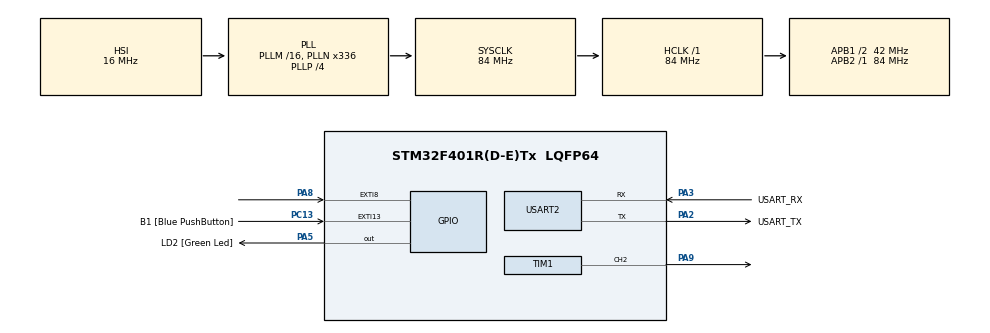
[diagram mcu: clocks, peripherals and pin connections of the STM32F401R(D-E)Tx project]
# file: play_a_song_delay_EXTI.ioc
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Mcu.Family=STM32F4
Mcu.Name=STM32F401R(D-E)Tx
Mcu.Package=LQFP64
NVIC.EXTI9_5_IRQn=true\:0\:0\:false\:false\:true\:true\:true
NVIC.PriorityGroup=NVIC_PRIORITYGROUP_0
PA13.GPIO_Label=TMS
PA13.Mode=Serial_Wire
PA13.Signal=SYS_JTMS-SWDIO
PA14.GPIO_Label=TCK
PA14.Mode=Serial_Wire
PA14.Signal=SYS_JTCK-SWCLK
PA2.GPIO_Label=USART_TX
PA2.GPIO_Mode=GPIO_MODE_AF_PP
PA2.GPIO_PuPd=GPIO_NOPULL
PA2.GPIO_Speed=GPIO_SPEED_FREQ_LOW
PA2.Mode=Asynchronous
PA2.Signal=USART2_TX
PA3.GPIO_Label=USART_RX
PA3.GPIO_Mode=GPIO_MODE_AF_PP
PA3.GPIO_PuPd=GPIO_NOPULL
PA3.GPIO_Speed=GPIO_SPEED_FREQ_LOW
PA3.Mode=Asynchronous
PA3.Signal=USART2_RX
PA5.GPIO_Label=LD2 [Green Led]
PA5.GPIO_Mode=GPIO_MODE_OUTPUT_PP
PA5.GPIO_PuPd=GPIO_NOPULL
PA5.GPIO_Speed=GPIO_SPEED_FREQ_LOW
PA5.Signal=GPIO_Output
PA8.Signal=GPXTI8
PA9.Signal=S_TIM1_CH2
PB3.GPIO_Label=SWO
PB3.Signal=SYS_JTDO-SWO
PC13-ANTI_TAMP.GPIO_Label=B1 [Blue PushButton]
PC13-ANTI_TAMP.GPIO_ModeDefaultEXTI=GPIO_MODE_IT_FALLING
PC13-ANTI_TAMP.GPIO_PuPd=GPIO_NOPULL
PC13-ANTI_TAMP.Signal=GPXTI13
PC14-OSC32_IN.Mode=LSE-External-Oscillator
PC14-OSC32_IN.Signal=RCC_OSC32_IN
PC15-OSC32_OUT.Mode=LSE-External-Oscillator
PC15-OSC32_OUT.Signal=RCC_OSC32_OUT
PH0\ -\ OSC_IN.Mode=HSE-External-Clock-Source
PH0\ -\ OSC_IN.Signal=RCC_OSC_IN
PH1\ -\ OSC_OUT.Mode=HSE-External-Clock-Source
PH1\ -\ OSC_OUT.Signal=RCC_OSC_OUT
ProjectManager.HeapSize=0x200
ProjectManager.StackSize=0x400
ProjectManager.TargetToolchain=STM32CubeIDE
RCC.48MHZClocksFreq_Value=48000000
RCC.AHBFreq_Value=84000000
RCC.APB1CLKDivider=RCC_HCLK_DIV2
RCC.APB1Freq_Value=42000000
RCC.APB1TimFreq_Value=84000000
RCC.APB2Freq_Value=84000000
RCC.APB2TimFreq_Value=84000000
RCC.CortexFreq_Value=84000000
RCC.HCLKFreq_Value=84000000
RCC.HSE_VALUE=8000000
RCC.HSI_VALUE=16000000
RCC.PLLN=336
RCC.PLLP=RCC_PLLP_DIV4
RCC.PLLQ=7
RCC.SYSCLKFreq_VALUE=84000000
RCC.SYSCLKSource=RCC_SYSCLKSOURCE_PLLCLK
RCC.VCOOutputFreq_Value=336000000
SH.S_TIM1_CH2.0=TIM1_CH2,PWM Generation2 CH2
TIM1.Channel-PWM\ Generation2\ CH2=TIM_CHANNEL_2
TIM1.Period=1005 - 1
TIM1.Prescaler=190 - 1
TIM1.Pulse-PWM\ Generation2\ CH2=503 - 1
USART2.VirtualMode=VM_ASYNC
VP_TIM1_VS_ClockSourceINT.Mode=Internal
board=NUCLEO-F401RE

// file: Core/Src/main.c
/* USER CODE BEGIN Header */
/**
  ******************************************************************************
  * @file           : main.c
  * @brief          : Main program body
  ******************************************************************************
  * @attention
  *
  * <h2><center>&copy; Copyright (c) 2021 STMicroelectronics.
  * All rights reserved.</center></h2>
  *
  * This software component is licensed by ST under BSD 3-Clause license,
  * the "License"; You may not use this file except in compliance with the
  * License. You may obtain a copy of the License at:
  *                        opensource.org/licenses/BSD-3-Clause
  *
  ******************************************************************************
  */
/* USER CODE END Header */
#include "main.h"

/* USER CODE BEGIN PTD */
typedef struct{
	int tone;
	int duration;
}Note;
/* USER CODE END PTD */

/* USER CODE BEGIN PD */

#define BLUE_BUTTON 			GPIOC, GPIO_PIN_13
#define LED_PIN					GPIOA, GPIO_PIN_5
#define MICROPHONE				GPIOA, GPIO_PIN_8

#define TEMPO	75

#define _DO4	3205
#define _DOD4	3031
#define _RE4	2856
#define _RED4	2699
#define _MI4	2544
#define _FA4	2405
#define _FAD4	2269
#define _SOL4	2141
#define _SOLD4	2023
#define _LA4	1908
#define _LAD4	1801
#define _SI4	1699

/* USER CODE END PD */

TIM_HandleTypeDef htim1;

UART_HandleTypeDef huart2;

/* USER CODE BEGIN PV */

int currentNote = 0; //Index of the current note to be played in the score
/*
 * LONDON BRIDGE IS FALLING DOWN
 */
Note score[] = {
		{_SOL4, 6},
		{_LA4, 2},
		{_SOL4, 4},
		{_FA4, 4},
		{_MI4, 4},
		{_FA4, 4},
		{_SOL4, 8},
		{_RE4, 4},
		{_MI4, 4},
		{_FA4, 8},
		{_MI4, 4},
		{_FA4, 4},
		{_SOL4, 8},
		{_SOL4, 6},
		{_LA4, 2},
		{_SOL4, 4},
		{_FA4, 4},
		{_MI4, 4},
		{_FA4, 4},
		{_SOL4, 8},
		{_RE4, 8},
		{_SOL4, 8},
		{_MI4, 4},
		{_DO4, 12}
};
/* USER CODE END PV */

void SystemClock_Config(void);
static void MX_GPIO_Init(void);
static void MX_USART2_UART_Init(void);
static void MX_TIM1_Init(void);
/* USER CODE BEGIN PFP */

void playnote(Note note);
void playscore(void);

/* USER CODE END PFP */

/* USER CODE BEGIN 0 */

/**
 * TIMER INTERRUPT CALLBACK
 * 	   When TIM2 elapses, it stops the PWM on TIM1 and plays the next note, until the last note is played
 */

/**
 * EXTERNAL INTERRUPT CALLBACK
 * 	   When the microphone detects a sound, TIM2's timer starts counting
 * 	   When the button is pressed, LD2 led lights up
 */
void HAL_GPIO_EXTI_Callback(uint16_t GPIO_Pin)
{
	GPIO_PinState snapFinger;

	switch (GPIO_Pin){
	case GPIO_PIN_8: 								//MICROPHONE
		snapFinger = HAL_GPIO_ReadPin(MICROPHONE);
		HAL_GPIO_WritePin(LED_PIN, snapFinger); 	//Lights up LD2
		playscore();

		// Clears the interrupt, so that the song does not replay if the mic detects a sound during the song
//		HAL_Delay(2); 								//In case the MCU is too fast
		__HAL_GPIO_EXTI_CLEAR_IT(GPIO_Pin);
		break;
	default:
		break;
	}
}

/**
 * Sets up TIM1 and TIM2, then starts the PWM generation
 */
void playnote(Note note){
	  TIM_OC_InitTypeDef sConfigOC = {0};

	  /**
	   * TIM1 update of Period (TIM1->ARR) and Pulse (TIM1 Duty Cycle)
	   * 	For each note, we set the corresponding equivalent frequency through the TIM1->ARR peripheral register
	   * 	After the setup, PWM generation begins
	   * */
	  htim1.Instance = TIM1;
	  htim1.Init.Prescaler = 100 - 1;
	  htim1.Init.CounterMode = TIM_COUNTERMODE_UP;
	  htim1.Init.Period = note.tone;
	  htim1.Init.ClockDivision = TIM_CLOCKDIVISION_DIV1;
	  htim1.Init.RepetitionCounter = 0;
	  htim1.Init.AutoReloadPreload = TIM_AUTORELOAD_PRELOAD_DISABLE;
	  if (HAL_TIM_Base_Init(&htim1) != HAL_OK)
	  {
	    Error_Handler();
	  }
	  if (HAL_TIM_PWM_Init(&htim1) != HAL_OK)
	  {
	    Error_Handler();
	  }

	  sConfigOC.OCMode = TIM_OCMODE_PWM1;
	  sConfigOC.Pulse = note.tone / 2;
	  sConfigOC.OCPolarity = TIM_OCPOLARITY_HIGH;
	  sConfigOC.OCNPolarity = TIM_OCNPOLARITY_HIGH;
	  sConfigOC.OCFastMode = TIM_OCFAST_DISABLE;
	  sConfigOC.OCIdleState = TIM_OCIDLESTATE_RESET;
	  sConfigOC.OCNIdleState = TIM_OCNIDLESTATE_RESET;
	  if (HAL_TIM_PWM_ConfigChannel(&htim1, &sConfigOC, TIM_CHANNEL_2) != HAL_OK)
	  {
	    Error_Handler();
	  }

	  HAL_TIM_PWM_Start(&htim1, TIM_CHANNEL_2);
	  HAL_Delay(note.duration * TEMPO);
	  HAL_TIM_PWM_Stop(&htim1, TIM_CHANNEL_2);

}

void playscore(){
	int length = sizeof(score)/sizeof(score[0]);

	for (int i = 0; i < length; ++i) {
		playnote(score[i]);
	}
}

/* USER CODE END 0 */

int main(void)
{

  /* MCU Configuration--------------------------------------------------------*/

  /* Reset of all peripherals, Initializes the Flash interface and the Systick. */
  HAL_Init();

  /* Configure the system clock */
  SystemClock_Config();

  /* Initialize all configured peripherals */
  MX_GPIO_Init();
  MX_USART2_UART_Init();
  MX_TIM1_Init();
  /* USER CODE BEGIN 2 */
  NVIC_SetPriorityGrouping(NVIC_PRIORITYGROUP_1);
  HAL_NVIC_SetPriority(EXTI9_5_IRQn, 1, 0);
  /* USER CODE END 2 */

  /* Infinite loop */
  while (1)
  {

  }
}

void SystemClock_Config(void)
{
  RCC_OscInitTypeDef RCC_OscInitStruct = {0};
  RCC_ClkInitTypeDef RCC_ClkInitStruct = {0};

  /** Configure the main internal regulator output voltage
  */
  __HAL_RCC_PWR_CLK_ENABLE();
  __HAL_PWR_VOLTAGESCALING_CONFIG(PWR_REGULATOR_VOLTAGE_SCALE2);
  /** Initializes the RCC Oscillators according to the specified parameters
  * in the RCC_OscInitTypeDef structure.
  */
  RCC_OscInitStruct.OscillatorType = RCC_OSCILLATORTYPE_HSI;
  RCC_OscInitStruct.HSIState = RCC_HSI_ON;
  RCC_OscInitStruct.HSICalibrationValue = RCC_HSICALIBRATION_DEFAULT;
  RCC_OscInitStruct.PLL.PLLState = RCC_PLL_ON;
  RCC_OscInitStruct.PLL.PLLSource = RCC_PLLSOURCE_HSI;
  RCC_OscInitStruct.PLL.PLLM = 16;
  RCC_OscInitStruct.PLL.PLLN = 336;
  RCC_OscInitStruct.PLL.PLLP = RCC_PLLP_DIV4;
  RCC_OscInitStruct.PLL.PLLQ = 7;
  if (HAL_RCC_OscConfig(&RCC_OscInitStruct) != HAL_OK)
  {
    Error_Handler();
  }
  /** Initializes the CPU, AHB and APB buses clocks
  */
  RCC_ClkInitStruct.ClockType = RCC_CLOCKTYPE_HCLK|RCC_CLOCKTYPE_SYSCLK
                              |RCC_CLOCKTYPE_PCLK1|RCC_CLOCKTYPE_PCLK2;
  RCC_ClkInitStruct.SYSCLKSource = RCC_SYSCLKSOURCE_PLLCLK;
  RCC_ClkInitStruct.AHBCLKDivider = RCC_SYSCLK_DIV1;
  RCC_ClkInitStruct.APB1CLKDivider = RCC_HCLK_DIV2;
  RCC_ClkInitStruct.APB2CLKDivider = RCC_HCLK_DIV1;

  if (HAL_RCC_ClockConfig(&RCC_ClkInitStruct, FLASH_LATENCY_2) != HAL_OK)
  {
    Error_Handler();
  }
}

static void MX_TIM1_Init(void)
{

  TIM_ClockConfigTypeDef sClockSourceConfig = {0};
  TIM_MasterConfigTypeDef sMasterConfig = {0};
  TIM_OC_InitTypeDef sConfigOC = {0};
  TIM_BreakDeadTimeConfigTypeDef sBreakDeadTimeConfig = {0};

  htim1.Instance = TIM1;
  htim1.Init.Prescaler = 190 - 1;
  htim1.Init.CounterMode = TIM_COUNTERMODE_UP;
  htim1.Init.Period = 1005 - 1;
  htim1.Init.ClockDivision = TIM_CLOCKDIVISION_DIV1;
  htim1.Init.RepetitionCounter = 0;
  htim1.Init.AutoReloadPreload = TIM_AUTORELOAD_PRELOAD_DISABLE;
  if (HAL_TIM_Base_Init(&htim1) != HAL_OK)
  {
    Error_Handler();
  }
  sClockSourceConfig.ClockSource = TIM_CLOCKSOURCE_INTERNAL;
  if (HAL_TIM_ConfigClockSource(&htim1, &sClockSourceConfig) != HAL_OK)
  {
    Error_Handler();
  }
  if (HAL_TIM_PWM_Init(&htim1) != HAL_OK)
  {
    Error_Handler();
  }
  sMasterConfig.MasterOutputTrigger = TIM_TRGO_RESET;
  sMasterConfig.MasterSlaveMode = TIM_MASTERSLAVEMODE_DISABLE;
  if (HAL_TIMEx_MasterConfigSynchronization(&htim1, &sMasterConfig) != HAL_OK)
  {
    Error_Handler();
  }
  sConfigOC.OCMode = TIM_OCMODE_PWM1;
  sConfigOC.Pulse = 503 - 1;
  sConfigOC.OCPolarity = TIM_OCPOLARITY_HIGH;
  sConfigOC.OCNPolarity = TIM_OCNPOLARITY_HIGH;
  sConfigOC.OCFastMode = TIM_OCFAST_DISABLE;
  sConfigOC.OCIdleState = TIM_OCIDLESTATE_RESET;
  sConfigOC.OCNIdleState = TIM_OCNIDLESTATE_RESET;
  if (HAL_TIM_PWM_ConfigChannel(&htim1, &sConfigOC, TIM_CHANNEL_2) != HAL_OK)
  {
    Error_Handler();
  }
  sBreakDeadTimeConfig.OffStateRunMode = TIM_OSSR_DISABLE;
  sBreakDeadTimeConfig.OffStateIDLEMode = TIM_OSSI_DISABLE;
  sBreakDeadTimeConfig.LockLevel = TIM_LOCKLEVEL_OFF;
  sBreakDeadTimeConfig.DeadTime = 0;
  sBreakDeadTimeConfig.BreakState = TIM_BREAK_DISABLE;
  sBreakDeadTimeConfig.BreakPolarity = TIM_BREAKPOLARITY_HIGH;
  sBreakDeadTimeConfig.AutomaticOutput = TIM_AUTOMATICOUTPUT_DISABLE;
  if (HAL_TIMEx_ConfigBreakDeadTime(&htim1, &sBreakDeadTimeConfig) != HAL_OK)
  {
    Error_Handler();
  }
  HAL_TIM_MspPostInit(&htim1);

}

static void MX_USART2_UART_Init(void)
{

  huart2.Instance = USART2;
  huart2.Init.BaudRate = 115200;
  huart2.Init.WordLength = UART_WORDLENGTH_8B;
  huart2.Init.StopBits = UART_STOPBITS_1;
  huart2.Init.Parity = UART_PARITY_NONE;
  huart2.Init.Mode = UART_MODE_TX_RX;
  huart2.Init.HwFlowCtl = UART_HWCONTROL_NONE;
  huart2.Init.OverSampling = UART_OVERSAMPLING_16;
  if (HAL_UART_Init(&huart2) != HAL_OK)
  {
    Error_Handler();
  }

}

static void MX_GPIO_Init(void)
{
  GPIO_InitTypeDef GPIO_InitStruct = {0};

  /* GPIO Ports Clock Enable */
  __HAL_RCC_GPIOC_CLK_ENABLE();
  __HAL_RCC_GPIOH_CLK_ENABLE();
  __HAL_RCC_GPIOA_CLK_ENABLE();
  __HAL_RCC_GPIOB_CLK_ENABLE();

  /*Configure GPIO pin : B1_Pin */
  GPIO_InitStruct.Pin = B1_Pin;
  GPIO_InitStruct.Mode = GPIO_MODE_IT_RISING_FALLING;
  GPIO_InitStruct.Pull = GPIO_NOPULL;
  HAL_GPIO_Init(B1_GPIO_Port, &GPIO_InitStruct);

  /*Configure GPIO pin : PA8 */
  GPIO_InitStruct.Pin = GPIO_PIN_8;
  GPIO_InitStruct.Mode = GPIO_MODE_IT_RISING_FALLING;
  GPIO_InitStruct.Pull = GPIO_NOPULL;
  HAL_GPIO_Init(GPIOA, &GPIO_InitStruct);

  /* EXTI interrupt init*/
  HAL_NVIC_SetPriority(EXTI9_5_IRQn, 0, 0);
  HAL_NVIC_EnableIRQ(EXTI9_5_IRQn);

  HAL_NVIC_SetPriority(EXTI15_10_IRQn, 0, 0);
  HAL_NVIC_EnableIRQ(EXTI15_10_IRQn);

}

void Error_Handler(void)
{
  __disable_irq();
  while (1)
  {
  }
}

/************************ (C) COPYRIGHT STMicroelectronics *****END OF FILE****/
